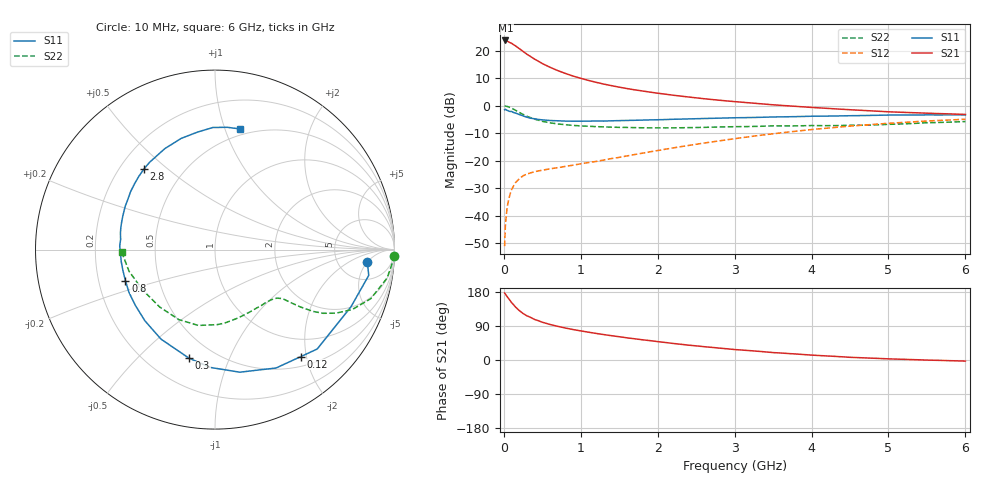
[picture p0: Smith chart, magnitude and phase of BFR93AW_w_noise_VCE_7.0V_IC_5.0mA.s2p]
! (c) 2017  Infineon Technologies AG, Munich
! Infineon Technologies  Discrete & RF Semiconductors
! BFR93AW
! VCE =  7.0 V,  IC =  5.0 mA
! Common Emitter S-Parameters:  Jan 2017
# GHz  S  MA  R  50
!  f  S11  S21  S12  S22
! GHz  MAG  ANG  MAG  ANG  MAG  ANG  MAG  ANG
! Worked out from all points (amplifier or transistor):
!   77 points, 10 MHz to 6 GHz, reference 50 ohm
!   highest |S21| = 23.8 dB at 20 MHz (marker M1)
!   |S21| within 3 dB of that: start of sweep to 201.7 MHz
!   unconditionally stable (mu >= 1): 1.068 GHz to 2.157 GHz
!   at 130 MHz: K = 0.19, MSG = 25.6 dB, |S12| = -28.9 dB
!   at 2.2 GHz: K = 0.99, MSG = 9.6 dB, |S12| = -15.3 dB
!   at 6 GHz: K = 0.88, MSG = 0.9 dB, |S12| = -4.9 dB
!   lowest NFmin = 1.18 dB at 450 MHz
!   S11 on the Smith chart (normalised r, x): 10 MHz: 10, -5; 120 MHz: 0.66, -1.90; 300 MHz: 0.37, -0.72; 800 MHz: 0.32, -0.15; 2.8 GHz: 0.30, +0.42; 6 GHz: 0.44, +1.13
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0.01  0.8515 -4.8  15.29 177.0  0.0028 86.7  0.999 -1.9
0.02  0.8686 -9.5  15.5 174.0  0.0065 88.8  0.992 -4.0
0.05  0.8219 -22.8  14.92 165.2  0.0161 78.5  0.9719 -9.4
0.07  0.7974 -31.2  14.38 160.0  0.0215 73.6  0.9452 -12.5
0.1  0.7943 -44.2  13.8 151.6  0.0298 69.7  0.9106 -17.4
0.12  0.764 -51.3  13.18 147.3  0.0337 65.4  0.8788 -19.8
0.15  0.7423 -62.7  12.4 140.1  0.0399 60.6  0.8342 -23.6
0.2  0.6968 -78.6  11.02 130.6  0.0471 55.4  0.7617 -27.7
0.25  0.6571 -92.2  9.8 122.7  0.0534 50.9  0.6992 -30.5
0.3  0.6222 -103.4  8.707 116.6  0.0574 48.1  0.6467 -32.2
0.4  0.5825 -121.1  7.084 106.9  0.0635 45.6  0.5724 -33.9
0.5  0.5566 -134.6  5.892 99.7  0.0675 44.9  0.5238 -34.8
0.6  0.5417 -145.0  5.043 93.8  0.0716 45.2  0.4919 -35.4
0.8  0.5283 -160.9  3.893 84.4  0.0791 48.8  0.454 -36.8
1.1  0.5273 -177.7  2.907 73.4  0.093 53.6  0.4255 -40.4
1.6  0.5428 163.1  2.066 58.5  0.1228 61.0  0.4051 -49.9
2.1  0.564 148.2  1.631 46.2  0.1627 64.3  0.3978 -62.9
2.8  0.5983 131.5  1.267 31.4  0.2309 63.8  0.4133 -82.9
3.1  0.6101 124.8  1.164 26.2  0.2641 61.8  0.4191 -91.3
4.1  0.6493 105.2  0.919 11.8  0.3816 52.2  0.4369 -120.5
5.1  0.6805 89.6  0.771 2.4  0.4912 39.3  0.4652 -154.0
6  0.6863 78.3  0.699 -2.9  0.5713 27.2  0.5194 -178.3
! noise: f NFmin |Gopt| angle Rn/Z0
0.45  1.18  0.25  77  0.14
0.9  1.5  0.29  137  0.15
1.9  2.75  0.49  -153  0.19
2.4  3.37  0.57  -135  0.38
